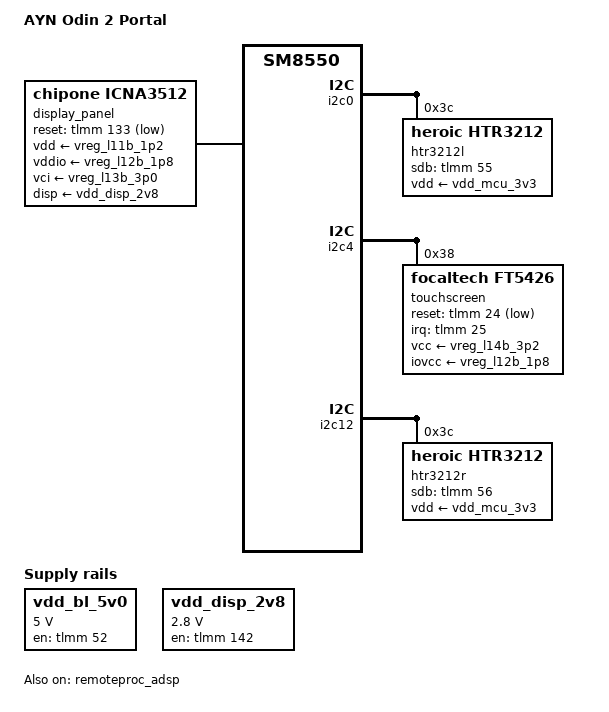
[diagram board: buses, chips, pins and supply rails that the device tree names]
// SPDX-License-Identifier: BSD-3-Clause
/*
 * Copyright (c) 2025, Teguh Sobirin.
 */

/dts-v1/;

#include "qcs8550-ayn-common.dtsi"
#include "qcs8550-ayn-odin2-sd.dtsi"

/ {
	model = "AYN Odin 2 Portal";
	compatible = "ayn,odin2portal", "qcom,qcs8550", "qcom,sm8550";
	qcom,msm-id = <603 0x20000>;
	qcom,board-id = <0x1001f 0>;

	vdd_bl_5v0: vdd-bl-5v0-regulator {
		compatible = "regulator-fixed";
		regulator-name = "vdd_bl_5v0";

		regulator-min-microvolt = <5000000>;
		regulator-max-microvolt = <5000000>;

		gpio = <&tlmm 52 GPIO_ACTIVE_HIGH>;
		enable-active-high;
	};

	vdd_disp_2v8: vdd-disp-2v8-regulator {
		compatible = "regulator-fixed";
		regulator-name = "vdd_disp_2v8";

		regulator-min-microvolt = <2800000>;
		regulator-max-microvolt = <2800000>;

		gpio = <&tlmm 142 GPIO_ACTIVE_HIGH>;
		enable-active-high;
	};

	multi-ledr1 {
		compatible = "leds-group-multicolor";
		color = <LED_COLOR_ID_RGB>;
		function = "r1";
		leds = <&ledr_r4>, <&ledr_g4>, <&ledr_b4>;
	};

	multi-ledl1 {
		compatible = "leds-group-multicolor";
		color = <LED_COLOR_ID_RGB>;
		function = "l1";
		leds = <&ledl_r4>, <&ledl_g4>, <&ledl_b4>;
	};

	multi-ledr2 {
		compatible = "leds-group-multicolor";
		color = <LED_COLOR_ID_RGB>;
		function = "r2";
		leds = <&ledr_r1>, <&ledr_g1>, <&ledr_b1>;
	};

	multi-ledl2 {
		compatible = "leds-group-multicolor";
		color = <LED_COLOR_ID_RGB>;
		function = "l2";
		leds = <&ledl_r1>, <&ledl_g1>, <&ledl_b1>;
	};

	multi-ledr3 {
		compatible = "leds-group-multicolor";
		color = <LED_COLOR_ID_RGB>;
		function = "r3";
		leds = <&ledr_r2>, <&ledr_g2>, <&ledr_b2>;
	};

	multi-ledl3 {
		compatible = "leds-group-multicolor";
		color = <LED_COLOR_ID_RGB>;
		function = "l3";
		leds = <&ledl_r2>, <&ledl_g2>, <&ledl_b2>;
	};

	multi-ledr4 {
		compatible = "leds-group-multicolor";
		color = <LED_COLOR_ID_RGB>;
		function = "r4";
		leds = <&ledr_r3>, <&ledr_g3>, <&ledr_b3>;
	};

	multi-ledl4 {
		compatible = "leds-group-multicolor";
		color = <LED_COLOR_ID_RGB>;
		function = "l4";
		leds = <&ledl_r3>, <&ledl_g3>, <&ledl_b3>;
	};
};

&display_panel {
	compatible = "chipone,icna3512";

	pinctrl-0 = <&dsi_p_rst_active>, <&dsi_p_te_active>;
	pinctrl-1 = <&dsi_p_rst_suspend>, <&dsi_p_te_suspend>;
	pinctrl-names = "default", "sleep";

	vdd-supply = <&vreg_l11b_1p2>;
	vddio-supply = <&vreg_l12b_1p8>;
	vci-supply = <&vreg_l13b_3p0>;
	disp-supply = <&vdd_disp_2v8>;
	blvdd-supply = <&vdd_bl_5v0>;

	reset-gpios = <&tlmm 133 GPIO_ACTIVE_LOW>;

	rotation = <270>;
};

&i2c0 {
	htr3212l: led-controller@3c {
		compatible = "heroic,htr3212";
		reg = <0x3c>;
		#address-cells = <1>;
		#size-cells = <0>;
		sdb-gpios = <&tlmm 55 GPIO_ACTIVE_HIGH>;
		vdd-supply = <&vdd_mcu_3v3>;

		ledl_b1: led@1 {
			reg = <1>;
			label = "l:r1";
			color = <LED_COLOR_ID_RED>;
		};
		ledl_g1: led@2 {
			reg = <2>;
			label = "l:g1";
			color = <LED_COLOR_ID_GREEN>;
		};
		ledl_r1: led@3 {
			reg = <3>;
			label = "l:b1";
			color = <LED_COLOR_ID_BLUE>;
		};
		ledl_b2: led@4 {
			reg = <4>;
			label = "l:r2";
			color = <LED_COLOR_ID_RED>;
		};
		ledl_g2: led@5 {
			reg = <5>;
			label = "l:g2";
			color = <LED_COLOR_ID_GREEN>;
		};
		ledl_r2: led@6 {
			reg = <6>;
			label = "l:b2";
			color = <LED_COLOR_ID_BLUE>;
		};
		ledl_b3: led@7 {
			reg = <7>;
			label = "l:r3";
			color = <LED_COLOR_ID_RED>;
		};
		ledl_g3: led@8 {
			reg = <8>;
			label = "l:g3";
			color = <LED_COLOR_ID_GREEN>;
		};
		ledl_r3: led@9 {
			reg = <9>;
			label = "l:b3";
			color = <LED_COLOR_ID_BLUE>;
		};
		ledl_b4: led@10 {
			reg = <10>;
			label = "l:r4";
			color = <LED_COLOR_ID_RED>;
		};
		ledl_g4: led@11 {
			reg = <11>;
			label = "l:g4";
			color = <LED_COLOR_ID_GREEN>;
		};
		ledl_r4: led@12 {
			reg = <12>;
			label = "l:b4";
			color = <LED_COLOR_ID_BLUE>;
		};
	};
};

&i2c4 {
	touchscreen@38 {
		compatible = "focaltech,ft5426";
		reg = <0x38>;
		#address-cells = <1>;
		#size-cells = <0>;

		interrupt-parent = <&tlmm>;
		interrupts = <25 IRQ_TYPE_EDGE_FALLING>;

		reset-gpios = <&tlmm 24 GPIO_ACTIVE_LOW>;

		vcc-supply = <&vreg_l14b_3p2>;
		iovcc-supply = <&vreg_l12b_1p8>;

		pinctrl-0 = <&ts_p_rst_default &ts_p_int_default>;
		pinctrl-1 = <&ts_p_rst_sleep &ts_p_int_sleep>;
		pinctrl-names = "default", "sleep";

		touchscreen-size-x = <1080>;
		touchscreen-size-y = <1920>;
	};
};

&i2c12 {
	htr3212r: led-controller@3c {
		compatible = "heroic,htr3212";
		reg = <0x3c>;
		#address-cells = <1>;
		#size-cells = <0>;
		sdb-gpios = <&tlmm 56 GPIO_ACTIVE_HIGH>;
		vdd-supply = <&vdd_mcu_3v3>;

		ledr_b1: led@1 {
			reg = <1>;
			label = "r:r1";
			color = <LED_COLOR_ID_RED>;
		};
		ledr_g1: led@2 {
			reg = <2>;
			label = "r:g1";
			color = <LED_COLOR_ID_GREEN>;
		};
		ledr_r1: led@3 {
			reg = <3>;
			label = "r:b1";
			color = <LED_COLOR_ID_BLUE>;
		};
		ledr_b2: led@4 {
			reg = <4>;
			label = "r:r2";
			color = <LED_COLOR_ID_RED>;
		};
		ledr_g2: led@5 {
			reg = <5>;
			label = "r:g2";
			color = <LED_COLOR_ID_GREEN>;
		};
		ledr_r2: led@6 {
			reg = <6>;
			label = "r:b2";
 			color = <LED_COLOR_ID_BLUE>;
		};
		ledr_b3: led@7 {
			reg = <7>;
			label = "r:r3";
			color = <LED_COLOR_ID_RED>;
		};
		ledr_g3: led@8 {
			reg = <8>;
			label = "r:g3";
			color = <LED_COLOR_ID_GREEN>;
		};
		ledr_r3: led@9 {
			reg = <9>;
			label = "r:b3";
			color = <LED_COLOR_ID_BLUE>;
		};
		ledr_b4: led@10 {
			reg = <10>;
			label = "r:r4";
			color = <LED_COLOR_ID_RED>;
		};
		ledr_g4: led@11 {
			reg = <11>;
			label = "r:g4";
			color = <LED_COLOR_ID_GREEN>;
		};
		ledr_r4: led@12 {
			reg = <12>;
			label = "r:b4";
			color = <LED_COLOR_ID_BLUE>;
		};
	};
};

&remoteproc_adsp {
	firmware-name = "qcom/sm8550/ayn/odin2portal/adsp.mbn",
			"qcom/sm8550/ayn/odin2portal/adsp_dtb.mbn";
	status = "okay";
};

&spk_amp_l {
	firmware-name = "qcom/sm8550/ayn/odin2portal/aw883xx_acf.bin";
};

&spk_amp_r {
	firmware-name = "qcom/sm8550/ayn/odin2portal/aw883xx_acf.bin";
};

/*
 * Fan curve in the kernel. The common dtsi (ROCKNIX) defines fan trip points but no
 * cooling-maps: ROCKNIX drives pwm1 from a userspace daemon, and without one the fan sits
 * at the boot duty cycle forever -- spinning at idle, never ramping under load. Bind the
 * pwm-fan to those trips (step_wise): off below 50 C, one cooling level per 5 C up to 80 C
 * on the CPU clusters, and the top three levels for the prime-core and GPU hotspots.
 */
&{/thermal-zones/cpuss0-thermal} {
	cooling-maps {
		fan0 {
			trip = <&cpuss0_fan0>;
			cooling-device = <&pwm_fan 1 1>;
		};
		fan1 {
			trip = <&cpuss0_fan1>;
			cooling-device = <&pwm_fan 2 2>;
		};
		fan2 {
			trip = <&cpuss0_fan2>;
			cooling-device = <&pwm_fan 3 3>;
		};
		fan3 {
			trip = <&cpuss0_fan3>;
			cooling-device = <&pwm_fan 4 4>;
		};
		fan4 {
			trip = <&cpuss0_fan4>;
			cooling-device = <&pwm_fan 5 5>;
		};
		fan5 {
			trip = <&cpuss0_fan5>;
			cooling-device = <&pwm_fan 6 6>;
		};
		fan6 {
			trip = <&cpuss0_fan6>;
			cooling-device = <&pwm_fan 7 7>;
		};
	};
};

&{/thermal-zones/cpuss1-thermal} {
	cooling-maps {
		fan0 {
			trip = <&cpuss1_fan0>;
			cooling-device = <&pwm_fan 1 1>;
		};
		fan1 {
			trip = <&cpuss1_fan1>;
			cooling-device = <&pwm_fan 2 2>;
		};
		fan2 {
			trip = <&cpuss1_fan2>;
			cooling-device = <&pwm_fan 3 3>;
		};
		fan3 {
			trip = <&cpuss1_fan3>;
			cooling-device = <&pwm_fan 4 4>;
		};
		fan4 {
			trip = <&cpuss1_fan4>;
			cooling-device = <&pwm_fan 5 5>;
		};
		fan5 {
			trip = <&cpuss1_fan5>;
			cooling-device = <&pwm_fan 6 6>;
		};
		fan6 {
			trip = <&cpuss1_fan6>;
			cooling-device = <&pwm_fan 7 7>;
		};
	};
};

&{/thermal-zones/cpuss2-thermal} {
	cooling-maps {
		fan0 {
			trip = <&cpuss2_fan0>;
			cooling-device = <&pwm_fan 1 1>;
		};
		fan1 {
			trip = <&cpuss2_fan1>;
			cooling-device = <&pwm_fan 2 2>;
		};
		fan2 {
			trip = <&cpuss2_fan2>;
			cooling-device = <&pwm_fan 3 3>;
		};
		fan3 {
			trip = <&cpuss2_fan3>;
			cooling-device = <&pwm_fan 4 4>;
		};
		fan4 {
			trip = <&cpuss2_fan4>;
			cooling-device = <&pwm_fan 5 5>;
		};
		fan5 {
			trip = <&cpuss2_fan5>;
			cooling-device = <&pwm_fan 6 6>;
		};
		fan6 {
			trip = <&cpuss2_fan6>;
			cooling-device = <&pwm_fan 7 7>;
		};
	};
};

&{/thermal-zones/cpuss3-thermal} {
	cooling-maps {
		fan0 {
			trip = <&cpuss3_fan0>;
			cooling-device = <&pwm_fan 1 1>;
		};
		fan1 {
			trip = <&cpuss3_fan1>;
			cooling-device = <&pwm_fan 2 2>;
		};
		fan2 {
			trip = <&cpuss3_fan2>;
			cooling-device = <&pwm_fan 3 3>;
		};
		fan3 {
			trip = <&cpuss3_fan3>;
			cooling-device = <&pwm_fan 4 4>;
		};
		fan4 {
			trip = <&cpuss3_fan4>;
			cooling-device = <&pwm_fan 5 5>;
		};
		fan5 {
			trip = <&cpuss3_fan5>;
			cooling-device = <&pwm_fan 6 6>;
		};
		fan6 {
			trip = <&cpuss3_fan6>;
			cooling-device = <&pwm_fan 7 7>;
		};
	};
};

&{/thermal-zones/cpu7-top-thermal} {
	cooling-maps {
		fan0 {
			trip = <&cpu7_top_fan0>;
			cooling-device = <&pwm_fan 5 5>;
		};
		fan1 {
			trip = <&cpu7_top_fan1>;
			cooling-device = <&pwm_fan 6 6>;
		};
		fan2 {
			trip = <&cpu7_top_fan2>;
			cooling-device = <&pwm_fan 7 7>;
		};
	};
};

&{/thermal-zones/gpuss-0-thermal} {
	cooling-maps {
		fan0 {
			trip = <&gpuss0_fan0>;
			cooling-device = <&pwm_fan 5 5>;
		};
		fan1 {
			trip = <&gpuss0_fan1>;
			cooling-device = <&pwm_fan 6 6>;
		};
		fan2 {
			trip = <&gpuss0_fan2>;
			cooling-device = <&pwm_fan 7 7>;
		};
	};
};

&{/thermal-zones/gpuss-1-thermal} {
	cooling-maps {
		fan0 {
			trip = <&gpuss1_fan0>;
			cooling-device = <&pwm_fan 5 5>;
		};
		fan1 {
			trip = <&gpuss1_fan1>;
			cooling-device = <&pwm_fan 6 6>;
		};
		fan2 {
			trip = <&gpuss1_fan2>;
			cooling-device = <&pwm_fan 7 7>;
		};
	};
};

&{/thermal-zones/gpuss-2-thermal} {
	cooling-maps {
		fan0 {
			trip = <&gpuss2_fan0>;
			cooling-device = <&pwm_fan 5 5>;
		};
		fan1 {
			trip = <&gpuss2_fan1>;
			cooling-device = <&pwm_fan 6 6>;
		};
		fan2 {
			trip = <&gpuss2_fan2>;
			cooling-device = <&pwm_fan 7 7>;
		};
	};
};

&{/thermal-zones/gpuss-3-thermal} {
	cooling-maps {
		fan0 {
			trip = <&gpuss3_fan0>;
			cooling-device = <&pwm_fan 5 5>;
		};
		fan1 {
			trip = <&gpuss3_fan1>;
			cooling-device = <&pwm_fan 6 6>;
		};
		fan2 {
			trip = <&gpuss3_fan2>;
			cooling-device = <&pwm_fan 7 7>;
		};
	};
};

&{/thermal-zones/gpuss-4-thermal} {
	cooling-maps {
		fan0 {
			trip = <&gpuss4_fan0>;
			cooling-device = <&pwm_fan 5 5>;
		};
		fan1 {
			trip = <&gpuss4_fan1>;
			cooling-device = <&pwm_fan 6 6>;
		};
		fan2 {
			trip = <&gpuss4_fan2>;
			cooling-device = <&pwm_fan 7 7>;
		};
	};
};

&{/thermal-zones/gpuss-5-thermal} {
	cooling-maps {
		fan0 {
			trip = <&gpuss5_fan0>;
			cooling-device = <&pwm_fan 5 5>;
		};
		fan1 {
			trip = <&gpuss5_fan1>;
			cooling-device = <&pwm_fan 6 6>;
		};
		fan2 {
			trip = <&gpuss5_fan2>;
			cooling-device = <&pwm_fan 7 7>;
		};
	};
};

&{/thermal-zones/gpuss-6-thermal} {
	cooling-maps {
		fan0 {
			trip = <&gpuss6_fan0>;
			cooling-device = <&pwm_fan 5 5>;
		};
		fan1 {
			trip = <&gpuss6_fan1>;
			cooling-device = <&pwm_fan 6 6>;
		};
		fan2 {
			trip = <&gpuss6_fan2>;
			cooling-device = <&pwm_fan 7 7>;
		};
	};
};

&{/thermal-zones/gpuss-7-thermal} {
	cooling-maps {
		fan0 {
			trip = <&gpuss7_fan0>;
			cooling-device = <&pwm_fan 5 5>;
		};
		fan1 {
			trip = <&gpuss7_fan1>;
			cooling-device = <&pwm_fan 6 6>;
		};
		fan2 {
			trip = <&gpuss7_fan2>;
			cooling-device = <&pwm_fan 7 7>;
		};
	};
};
